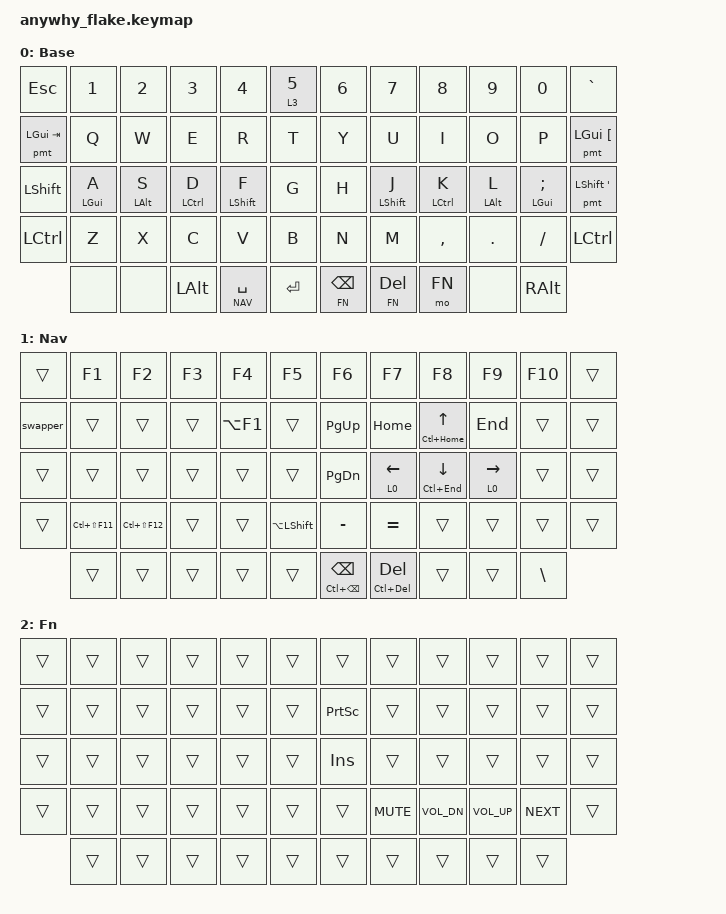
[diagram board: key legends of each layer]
#include <behaviors.dtsi>
#include <dt-bindings/zmk/bt.h>
#include <dt-bindings/zmk/keys.h>
#include <dt-bindings/zmk/modifiers.h>

#include "zmk-helpers/helper.h"

#define DEF 0
#define NAV 1
#define FN 2

#define XXX &none
#define ___ &trans


/* Global defaults */

#define QUICK_TAP_MS 175

&sk {
  release-after-ms = <900>;
  quick-release;
};

&sl { // Allow sticky mods to chord across sticky layers.
  ignore-modifiers;
};

&lt {
  flavor = "balanced";
  tapping-term-ms = <200>;
  quick-tap-ms = <QUICK_TAP_MS>;
};


/* Homerow mods */

#define KEYS_L \
     0  1  2  3  4  5 \
    12 13 14 15 16 17 \
    24 25 26 27 28 29 \
    36 37 38 39 40 41 

#define KEYS_R \
     6  7  8  9 10 11 \
    18 19 20 21 22 23 \
    30 31 32 33 34 35 \
    42 43 44 45 46 47 

#define THUMBS 48 49 50 51 52 53 54 55 56 57



#define MAKE_HRM(NAME, HOLD, TAP, TRIGGER_POS)                                 \
  ZMK_HOLD_TAP(NAME, bindings = <HOLD>, <TAP>; flavor = "balanced";            \
               tapping-term-ms = <280>; quick-tap-ms = <QUICK_TAP_MS>;         \
               require-prior-idle-ms = <150>; hold-trigger-on-release;         \
               hold-trigger-key-positions = <TRIGGER_POS>;)

MAKE_HRM(hml, &kp, &kp, KEYS_R THUMBS) // Left-hand HRMs.
MAKE_HRM(hmr, &kp, &kp, KEYS_L THUMBS) // Right-hand HRMs.

// Hack: Make HRM combos tap-only (cf, ZMK issue #544).
#define ZMK_COMBO_8(NAME, TAP, POS, LAYERS, COMBO_MS, IDLE_MS, HOLD, SIDE)     \
  MAKE_HRM(hm_combo_##NAME, &kp, TAP, SIDE THUMBS)                             \
  ZMK_COMBO_6(NAME, &hm_combo_##NAME HOLD 0, POS, LAYERS, COMBO_MS, IDLE_MS)

ZMK_MACRO(combo_lbkt,   bindings = <&kp LBKT>; wait-ms = <0>; tap-ms = <5>;)
ZMK_MACRO(combo_rbkt,   bindings = <&kp RBKT>; wait-ms = <0>; tap-ms = <5>;)
ZMK_MACRO(combo_minus,  bindings = <&kp MINUS>; wait-ms = <0>; tap-ms = <5>;)
ZMK_MACRO(combo_undscr, bindings = <&kp LS(MINUS)>; wait-ms = <0>; tap-ms = <5>;)
ZMK_MACRO(combo_equal,  bindings = <&kp EQUAL>; wait-ms = <0>; tap-ms = <5>;)
ZMK_MACRO(combo_plus,   bindings = <&kp LS(EQUAL)>; wait-ms = <0>; tap-ms = <5>;)
ZMK_MACRO(combo_dquote, bindings = <&kp LS(SQT)>; wait-ms = <0>; tap-ms = <5>;)
ZMK_MACRO(combo_squote, bindings = <&kp SQT>; wait-ms = <0>; tap-ms = <5>;)

/* Combos, leader key sequences, mouse emulation */

#include "combos.dtsi" // Must be sourced after HRM-combo hack.

/* Nav cluster */

// Trigger tap-action on all interrupts.
#define MT_CORE                                                                \
  flavor = "tap-preferred";                                                    \
  tapping-term-ms = <220>;                                                     \
  quick-tap-ms = <220>;                                                        \
  hold-trigger-key-positions = <0>;

&mt { MT_CORE };

ZMK_HOLD_TAP(mt_home, bindings = <&masked_home>, <&kp>; MT_CORE)
ZMK_HOLD_TAP(mt_end, bindings = <&masked_end>, <&kp>; MT_CORE)

#define NAV_LEFT  &mt_home 0   LEFT  // Tap: left  | Long-tap: start of line.
#define NAV_RIGHT &mt_end 0    RIGHT // Tap: right | Long-tap: end   of line.
#define NAV_UP    &mt LC(HOME) UP    // Tap: up    | Long-tap: start of doc.
#define NAV_DOWN  &mt LC(END)  DOWN  // Tap: down  | Long-tap: end   of doc.
#define NAV_BSPC  &mt LC(BSPC) BSPC  // Tap: bspc  | Long-tap: delete word bwd.
#define NAV_DEL   &mt LC(DEL)  DEL   // Tap: del   | Long-tap: delete word fwd.

// Mask CTRL on left/right hold to avoid accidental jumps to start/end of doc.
#define MASK_MODS(NAME, MODS, BINDING)                                         \
  ZMK_MOD_MORPH(NAME, bindings = <BINDING>, <BINDING>; mods = <MODS>;)

MASK_MODS(masked_home, (MOD_LCTL), &kp HOME)
MASK_MODS(masked_end,  (MOD_LCTL), &kp END)


/* Custom behaviors */

// Alt+Tab swapper, requires tri-state module.
ZMK_TRI_STATE(swapper, bindings = <&kt LALT>, <&kp TAB>, <&kt LALT>;
              ignored-key-positions = <20 32 31 33>;)

// Define mod-morph with a *single* mod trigger for less repetition.
#define SIMPLE_MORPH(NAME, MOD, BINDING1, BINDING2)                            \
  ZMK_MOD_MORPH(NAME, mods = <(MOD_L##MOD | MOD_R##MOD)>;                      \
                bindings = <BINDING1>, <BINDING2>;)

// Tap: comma | Shift + tap: semicolon | Ctrl + shift + tap: <.
SIMPLE_MORPH(comma_morph, SFT, &kp COMMA, &comma_inner_morph)
SIMPLE_MORPH(comma_inner_morph, CTL, &kp SEMICOLON, &kp LESS_THAN)

// Tap: dot | Shift + tap: colon | Ctrl + shift + tap: >.
SIMPLE_MORPH(dot_morph, SFT, &kp DOT, &dot_inner_morph)
SIMPLE_MORPH(dot_inner_morph, CTL, &kp COLON, &kp GREATER_THAN)

// Tap: qmark | Shift + tap: excl.
SIMPLE_MORPH(qexcl, SFT, &kp QMARK, &kp EXCL)

// Tap: left/right parenthesis | Shft + tap: less-than/greater-than.
SIMPLE_MORPH(lpar_lt, SFT, &kp LPAR, &kp LT)
SIMPLE_MORPH(rpar_gt, SFT, &kp RPAR, &kp GT)

// Tap: space | Shift + tap: dot -> space -> sticky shift | Hold: nav layer.
ZMK_HOLD_TAP(lt_spc, bindings = <&mo>, <&spc_morph>; flavor = "balanced";
             tapping-term-ms = <200>; quick-tap-ms = <QUICK_TAP_MS>;)
SIMPLE_MORPH(spc_morph, SFT, &kp SPACE, &dot_spc)
ZMK_MACRO(dot_spc, bindings = <&kp DOT &kp SPACE &sk LSHFT>; wait-ms = <0>;
          tap-ms = <5>;)

// Tap: backspace | Lshft + tap: delete | Rshft + tap: shift-delete.
ZMK_MOD_MORPH(bs_del, bindings = <&kp BSPC>, <&kp DEL>;
              mods = <(MOD_LSFT|MOD_RSFT)>; keep-mods = <MOD_RSFT>;)

// Tap: copy | double-tap: cut.
ZMK_TAP_DANCE(copy_cut, bindings = <&kp LC(INS)>, <&kp LC(X)>;
              tapping-term-ms = <200>;)

ZMK_HOLD_TAP(ltf,
    flavor = "hold-preferred";
    tapping-term-ms = <200>;
    bindings = <&mo>, <&kp>;
)

/* pinky mods

  require-prior-idle-ms
  Если перед hold-tap недавно была другая клавиша, ZMK принудительно предпочитает tap. Это защита от случайных модификаторов при быстрой печати home-
  row mods.
  Для pinky modifier лучше не ставить или поставить очень мало. 150 как у HRM может мешать быстрым chord-сценариям.

  quick-tap-ms
  Если ты быстро повторно нажал ту же hold-tap клавишу после tap, ZMK форсит tap. Это нужно, чтобы удобно печатать двойные tap-символы.
  Для pinky modifier лучше поставить маленько или отключить:

  quick-tap-ms = <0>;

  или максимум 120, если реально нужен быстрый повтор tap-символа.
*/

ZMK_HOLD_TAP(pmt,
      flavor = "balanced";
      tapping-term-ms = <200>;
      quick-tap-ms = <120>;
      require-prior-idle-ms = <120>;
      bindings = <&kp>, <&kp>;
)


// Misc aliases. [TODO: clean up]
#define CANCEL    &kp K_CANCEL            // Cancel caps-word & auto-layers.
#define DSK_PREV  &hmr LCTRL LG(LC(LEFT)) // Previous desktop.
#define DSK_NEXT  &hmr LALT LG(LC(RIGHT)) // Next     desktop.
#define PIN_WIN   &kp LG(LC(LS(Q)))       // Pin window across desktops.
#define PIN_APP   &kp LG(LC(LS(A)))       // Pin application across desktops.
#define DSK_MGR   &kp LA(GRAVE)           // Desktop manager.
#define VOL_DOWN  &hmr RSHFT C_VOL_DN

/* Keymap */

ZMK_LAYER(Base,
    &kp ESC         &kp N1      &kp N2      &kp N3       &kp N4         &lt 3 N5      &kp N6          &kp N7         &kp N8       &kp N9      &kp N0         &kp GRAVE
    &pmt LGUI TAB   &kp Q       &kp W       &kp E        &kp R          &kp T         &kp Y           &kp U          &kp I        &kp O       &kp P          &pmt LGUI LBKT
    &kp LSHFT       &hml LGUI A &hml LALT S &hml LCTRL D &hml LSHFT F   &kp G         &kp H           &hmr LSHFT J   &hmr LCTRL K &hmr LALT L &hmr LGUI SEMI &pmt LSHFT APOS
    &kp LCTRL       &kp Z       &kp X       &kp C        &kp V          &kp B         &kp N           &kp M          &kp COMMA    &kp DOT     &kp FSLH       &kp LCTRL
                    XXX         XXX         &kp LALT     &ltf NAV SPACE &kp ENTER     &lt FN BSPC     &lt FN DEL     &mo FN       XXX         &kp RALT
)

ZMK_LAYER(Nav,
    ___      &kp F1          &kp F2          &kp F3    &kp F4       &kp F5          &kp F6         &kp F7        &kp F8       &kp F9        &kp F10        ___
    &swapper ___             ___             ___       &kp LA(F1)   ___             &kp PG_UP      &kp HOME      NAV_UP       &kp END       ___            ___
    ___      ___             ___             ___       ___          ___             &kp PG_DN      NAV_LEFT      NAV_DOWN     NAV_RIGHT     ___            ___
    ___      &kp LC(LS(F11)) &kp LC(LS(F12)) ___       ___          &kp LA(LSHFT)   &kp MINUS      &kp EQUAL     ___          ___           ___            ___
             ___             ___             ___       ___          ___             NAV_BSPC       NAV_DEL       ___          ___           &kp BSLH
)

ZMK_LAYER(Fn,
    ___             ___       ___       ___       ___          ___           ___         ___         ___              ___            ___          ___
    ___             ___       ___       ___       ___          ___           &kp PSCRN   ___         ___              ___            ___          ___
    ___             ___       ___       ___       ___          ___           &kp INS     ___         ___              ___            ___          ___
    ___             ___       ___       ___       ___          ___           ___         &kp C_MUTE  &kp C_VOL_DN     &kp C_VOL_UP   &kp C_NEXT   ___
                    ___       ___       ___       ___          ___           ___         ___         ___              ___            ___
)
